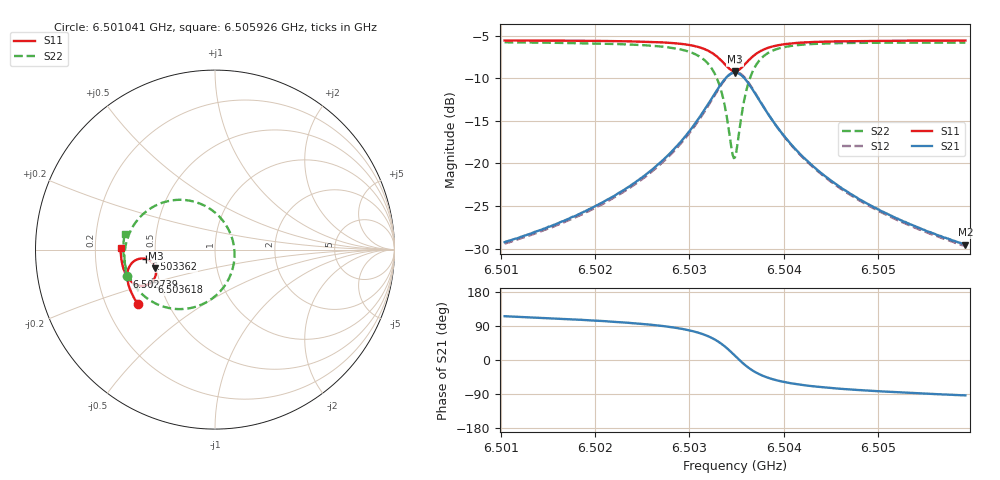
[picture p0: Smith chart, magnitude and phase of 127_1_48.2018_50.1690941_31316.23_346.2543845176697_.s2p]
#  HZ  S  RI  R  50.00
! Rohde & Schwarz Vector Network Analyzer
! Rohde-Schwarz,ZNB20-2Port,1311601062101988,3.16
! Created: UTC 3/20/2024, 11:41:44 AM
! freq[Hz]  re:S11  im:S11  re:S21  im:S21  re:S12  im:S12  re:S22  im:S22
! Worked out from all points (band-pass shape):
!   401 points, 6.501041 GHz to 6.505926 GHz, reference 50 ohm
!   highest |S21| = -9.34 dB at 6.503484 GHz (marker M1); lowest = -29.5 dB at 6.505926 GHz (marker M2)
!   |S21| within 3 dB of the highest: 6.503239 GHz to 6.503728 GHz (489.2 kHz wide, 0.00752 % of centre)
!   lowest |S11| = -9.2 dB at 6.503484 GHz (marker M3), VSWR 2.07, Z = 24.6 - j5.8 ohm
!   |S11| at or under -10 dB: nowhere
!   |S22| runs from -19.4 to -5.8 dB; largest |S21 - S12| = 0.012
!   S11 on the Smith chart (normalised r, x): 6.501041 GHz: 0.34, -0.28; 6.502739 GHz: 0.33, -0.14; 6.503362 GHz: 0.44, -0.05; 6.503618 GHz: 0.45, -0.19; 6.505926 GHz: 0.31, +0.01
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6.5010411e9  -0.4304 -0.3032  -0.0149 0.0312  -0.0131 0.0312  -0.4928 -0.1451
6.5018594e9  -0.4649 -0.2418  -0.014 0.0495  -0.0116 0.0488  -0.5042 -0.0561
6.5022991e9  -0.4801 -0.2023  -0.0111 0.0687  -0.00801 0.0675  -0.5002 0.00783
6.5026777e9  -0.4887 -0.1597  -0.00138 0.0997  0.00232 0.0973  -0.479 0.0857
6.5027388e9  -0.4891 -0.1513  0.0019 0.107  0.00575 0.1042  -0.4719 0.1018
6.5029586e9  -0.4854 -0.1163  0.0241 0.1426  0.028 0.1383  -0.4251 0.1729
6.5031174e9  -0.4707 -0.0841  0.064 0.179  0.0668 0.1729  -0.3476 0.2366
6.503264e9  -0.4324 -0.0544  0.1465 0.2076  0.1473 0.2013  -0.1971 0.2775
6.5033128e9  -0.411 -0.0496  0.1894 0.2061  0.1894 0.2003  -0.1219 0.2684
6.5033617e9  -0.3856 -0.0518  0.2386 0.1906  0.2387 0.1858  -0.0377 0.2334
6.5034472e9  -0.3427 -0.0813  0.3173 0.1151  0.3196 0.1107  0.088 0.0845
6.5034838e9  -0.3319 -0.1036  0.3347 0.0661  0.3383 0.0604  0.1084 -0.00784
6.5035082e9  -0.3288 -0.1199  0.3381 0.031  0.342 0.0242  0.1056 -0.0717
6.5035449e9  -0.3311 -0.144  0.3306 -0.0193  0.3339 -0.0284  0.0777 -0.1611
6.5036182e9  -0.3535 -0.1812  0.2836 -0.096  0.2831 -0.1076  -0.0337 -0.2848
6.5037281e9  -0.3993 -0.2013  0.1958 -0.1414  0.1902 -0.1513  -0.2112 -0.3313
6.5038868e9  -0.4466 -0.1919  0.1114 -0.1375  0.1042 -0.1427  -0.3631 -0.2821
6.5040578e9  -0.4747 -0.1706  0.0656 -0.1163  0.0592 -0.1186  -0.4372 -0.215
6.5043021e9  -0.4957 -0.1407  0.0347 -0.091  0.0299 -0.0914  -0.4816 -0.1411
6.5046807e9  -0.5118 -0.1006  0.0149 -0.0663  0.0116 -0.0658  -0.5049 -0.0629
6.5051204e9  -0.5208 -0.0595  0.00533 -0.0496  0.0029 -0.0489  -0.5109 0.000684
6.5059265e9  -0.526 0.00918  -0.00196 -0.0333  -0.00335 -0.0326  -0.5034 0.088
